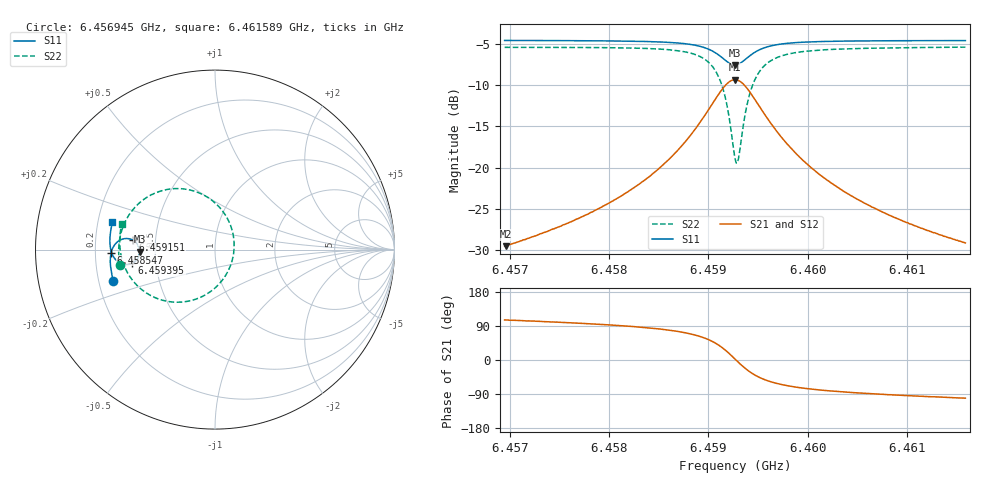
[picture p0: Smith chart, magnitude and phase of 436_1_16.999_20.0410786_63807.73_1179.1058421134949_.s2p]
#  HZ  S  RI  R  50.00
! Rohde & Schwarz Vector Network Analyzer
! Rohde-Schwarz,ZNB20-2Port,1311601062101988,3.16
! Created: UTC 3/20/2024, 11:11:39 PM
! freq[Hz]  re:S11  im:S11  re:S21  im:S21  re:S12  im:S12  re:S22  im:S22
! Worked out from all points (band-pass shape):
!   401 points, 6.456945 GHz to 6.461589 GHz, reference 50 ohm
!   highest |S21| = -9.32 dB at 6.459267 GHz (marker M1); lowest = -29.6 dB at 6.456957 GHz (marker M2)
!   |S21| within 3 dB of the highest: 6.459035 GHz to 6.4595 GHz (464.4 kHz wide, 0.00719 % of centre)
!   lowest |S11| = -7.5 dB at 6.459267 GHz (marker M3), VSWR 2.45, Z = 20.4 - j0.526 ohm
!   |S11| at or under -10 dB: nowhere
!   |S22| runs from -19.4 to -5.4 dB; largest |S21 - S12| = 0.013
!   S11 on the Smith chart (normalised r, x): 6.456945 GHz: 0.26, -0.14; 6.458547 GHz: 0.27, -0.01; 6.459151 GHz: 0.37, +0.05; 6.459395 GHz: 0.37, -0.07; 6.461589 GHz: 0.26, +0.12
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6.4569453e9  -0.566 -0.1745  -0.00906 0.0321  -0.00732 0.0321  -0.5306 -0.0875
6.4569569e9  -0.5663 -0.1736  -0.0089 0.0321  -0.00719 0.0321  -0.5308 -0.0864
6.4577231e9  -0.5804 -0.1067  -0.00572 0.0498  -0.00331 0.0492  -0.5366 0.00265
6.4581295e9  -0.5836 -0.0664  -0.00058 0.0677  0.0027 0.0665  -0.5297 0.0658
6.458501e9  -0.5798 -0.0225  0.0136 0.0976  0.0175 0.0951  -0.5042 0.1475
6.4585474e9  -0.5785 -0.0163  0.017 0.1032  0.021 0.1002  -0.4978 0.1607
6.4587564e9  -0.5664 0.0156  0.0428 0.1346  0.047 0.1298  -0.4496 0.2319
6.4589073e9  -0.5454 0.0418  0.085 0.1647  0.0883 0.1583  -0.3719 0.2959
6.4590582e9  -0.4996 0.0614  0.1759 0.1838  0.1769 0.1764  -0.2059 0.3399
6.4591511e9  -0.4555 0.0516  0.2649 0.1533  0.2653 0.1473  -0.0406 0.2913
6.4591975e9  -0.4345 0.0331  0.3084 0.111  0.3096 0.1056  0.0416 0.216
6.4592672e9  -0.4197 -0.0106  0.3416 0.0153  0.3453 0.00825  0.1067 0.0384
6.4592788e9  -0.4201 -0.0184  0.3415 -0.00238  0.3454 -0.00998  0.1065 0.00515
6.459302e9  -0.4235 -0.0339  0.3363 -0.0368  0.34 -0.0459  0.0959 -0.06
6.4593949e9  -0.4607 -0.076  0.2667 -0.1371  0.2659 -0.1501  -0.0444 -0.2467
6.4594877e9  -0.5037 -0.0826  0.1827 -0.1682  0.1767 -0.1797  -0.2115 -0.2931
6.4596387e9  -0.5472 -0.0623  0.0956 -0.1549  0.0873 -0.1609  -0.3777 -0.2447
6.4598012e9  -0.5685 -0.0345  0.0511 -0.1274  0.0437 -0.1301  -0.4576 -0.1735
6.460045e9  -0.5811 0.00102  0.0223 -0.0961  0.0163 -0.0966  -0.5053 -0.0915
6.46037e9  -0.5855 0.0396  0.00694 -0.071  0.00285 -0.0706  -0.526 -0.0173
6.4608228e9  -0.5836 0.0852  -0.00151 -0.0513  -0.00426 -0.0505  -0.5309 0.0551
6.461589e9  -0.5712 0.1528  -0.00648 -0.0342  -0.00823 -0.0333  -0.5194 0.1449
